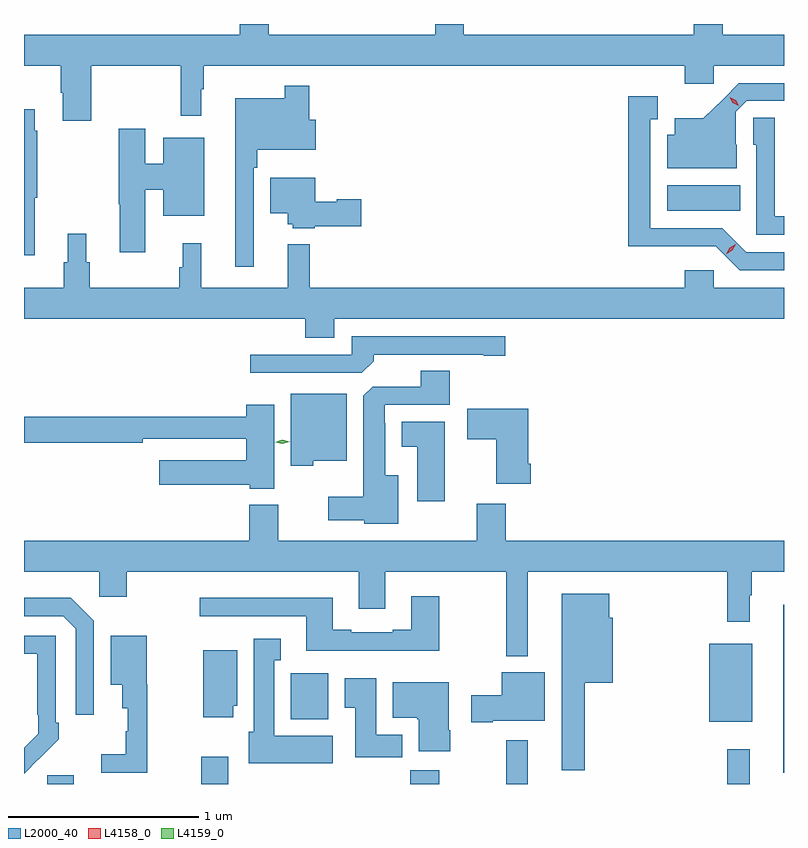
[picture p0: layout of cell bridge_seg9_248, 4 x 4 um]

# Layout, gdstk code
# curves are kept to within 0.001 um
import gdstk
lib = gdstk.Library(unit=1e-6, precision=1e-09)
def R(c, l, rs):  # rectangles x0, y0, x1, y1
    for r in rs: c.add(gdstk.rectangle(r[:2], r[2:], *l))
def P(c, l, *ps):  # polygons
    for p in ps: c.add(gdstk.Polygon(p, *l))
L2000_40 = (2000, 40)
L4158_0 = (4158, 0)
L4159_0 = (4159, 0)

bridge_seg9_248 = lib.new_cell('bridge_seg9_248')
R(bridge_seg9_248, L2000_40, [(278.631,1197.968,278.77,1198.014), (279.443,1197.968,279.583,1198.111), (280.543,1197.968,280.695,1198.04), (281.047,1197.968,281.161,1198.198), (282.211,1197.968,282.329,1198.15), (282.506,1198.026,282.509,1198.912), (282.116,1198.295,282.343,1198.705), (279.914,1198.31,280.111,1198.552), (281.894,1200.986,282.278,1201.12)])
P(bridge_seg9_248, L2000_40, [(278.862,1201.748),(279.333,1201.748),(279.333,1201.485),(279.442,1201.485),(279.442,1201.625),(279.454,1201.625),(279.454,1201.748),(281.987,1201.748),(281.987,1201.653),(282.138,1201.653),(282.138,1201.748),(282.509,1201.748),(282.509,1201.912),(282.187,1201.912),(282.187,1201.968),(282.035,1201.968),(282.035,1201.912),(280.824,1201.912),(280.824,1201.968),(280.673,1201.968),(280.673,1201.912),(279.797,1201.912),(279.797,1201.968),(279.644,1201.968),(279.644,1201.912),(278.509,1201.912),(278.509,1201.748),(278.702,1201.748),(278.702,1201.606),(278.714,1201.606),(278.714,1201.458),(278.862,1201.458)],
  [(282.259,1201.332),(282.255,1201.332),(282.255,1201.506),(282.312,1201.563),(282.509,1201.563),(282.509,1201.656),(282.272,1201.656),(282.085,1201.471),(281.933,1201.471),(281.933,1201.384),(281.894,1201.384),(281.894,1201.208),(282.259,1201.208)],
  [(279.717,1201.211),(279.737,1201.211),(279.737,1201.307),(280.045,1201.307),(280.045,1201.465),(280.01,1201.465),(280.01,1201.642),(279.882,1201.642),(279.882,1201.576),(279.62,1201.576),(279.62,1200.69),(279.717,1200.69)],
  [(282.509,1200.768),(282.309,1200.768),(282.183,1200.894),(281.806,1200.894),(281.806,1201.467),(281.845,1201.467),(281.845,1201.588),(281.688,1201.588),(281.688,1200.797),(282.15,1200.798),(282.276,1200.672),(282.509,1200.672)],
  [(278.566,1201.054),(278.578,1201.054),(278.578,1201.406),(278.566,1201.406),(278.566,1201.519),(278.509,1201.519),(278.509,1200.752),(278.566,1200.752)],
  [(282.509,1200.955),(282.459,1200.955),(282.459,1201.475),(282.348,1201.475),(282.348,1201.332),(282.363,1201.332),(282.363,1200.858),(282.509,1200.858)],
  [(279.148,1201.096),(279.242,1201.096),(279.242,1200.959),(279.457,1200.959),(279.457,1201.369),(279.242,1201.369),(279.242,1201.232),(279.148,1201.232),(279.148,1201.417),(279.007,1201.417),(279.007,1201.019),(279.014,1201.019),(279.014,1200.768),(279.148,1200.768)],
  [(280.038,1200.904),(280.285,1200.904),(280.285,1201.046),(280.155,1201.046),(280.155,1201.033),(280.042,1201.033),(280.042,1201.159),(279.806,1201.159),(279.806,1200.971),(279.896,1200.971),(279.896,1200.915),(279.924,1200.915),(279.924,1200.893),(280.038,1200.893)],
  [(280.141,1200.416),(282.509,1200.416),(282.509,1200.58),(282.138,1200.58),(282.138,1200.673),(281.987,1200.673),(281.987,1200.58),(280.013,1200.58),(280.013,1200.808),(279.896,1200.808),(279.896,1200.58),(279.443,1200.58),(279.443,1200.814),(279.344,1200.814),(279.344,1200.689),(279.325,1200.689),(279.325,1200.58),(278.855,1200.58),(278.855,1200.714),(278.836,1200.714),(278.836,1200.865),(278.738,1200.865),(278.738,1200.714),(278.719,1200.714),(278.719,1200.58),(278.509,1200.58),(278.509,1200.416),(279.989,1200.416),(279.989,1200.317),(280.141,1200.317)],
  [(280.349,1200.194),(280.349,1200.228),(280.928,1200.228),(280.928,1200.223),(281.041,1200.223),(281.041,1200.324),(280.233,1200.324),(280.233,1200.228),(279.699,1200.228),(279.699,1200.132),(280.287,1200.132)],
  [(280.48,1199.593),(280.411,1199.593),(280.411,1199.867),(280.407,1199.867),(280.407,1199.964),(280.751,1199.964),(280.751,1200.143),(280.598,1200.143),(280.598,1200.06),(280.344,1200.06),(280.295,1200.011),(280.295,1199.479),(280.11,1199.479),(280.11,1199.357),(280.299,1199.357),(280.299,1199.339),(280.48,1199.339)],
  [(280.032,1199.669),(280.207,1199.669),(280.207,1200.022),(279.914,1200.022),(279.914,1199.642),(280.032,1199.642)],
  [(279.826,1199.965),(279.68,1199.965),(279.68,1199.9),(278.509,1199.9),(278.509,1199.764),(279.134,1199.764),(279.134,1199.784),(279.68,1199.784),(279.68,1199.671),(279.222,1199.671),(279.222,1199.542),(279.696,1199.542),(279.696,1199.522),(279.826,1199.522)],
  [(281.177,1199.653),(281.164,1199.653),(281.164,1199.944),(280.842,1199.944),(280.842,1199.782),(280.994,1199.782),(280.994,1199.549),(281.177,1199.549)],
  [(280.723,1199.875),(280.496,1199.875),(280.496,1199.744),(280.58,1199.744),(280.58,1199.457),(280.723,1199.457)],
  [(281.161,1199.084),(282.211,1199.084),(282.211,1198.821),(282.328,1198.821),(282.328,1198.961),(282.34,1198.961),(282.34,1199.084),(282.509,1199.084),(282.509,1199.248),(281.045,1199.248),(281.045,1199.443),(280.892,1199.443),(280.892,1199.248),(279.847,1199.248),(279.847,1199.437),(279.695,1199.437),(279.695,1199.248),(278.509,1199.248),(278.509,1199.084),(278.904,1199.084),(278.904,1198.953),(279.051,1198.953),(279.051,1199.084),(280.271,1199.084),(280.271,1198.89),(280.411,1198.89),(280.411,1199.084),(281.047,1199.084),(281.047,1198.64),(281.161,1198.64)],
  [(281.461,1198.502),(281.608,1198.502),(281.608,1198.842),(281.59,1198.842),(281.59,1198.969),(281.339,1198.969),(281.339,1198.041),(281.461,1198.041)],
  [(280.695,1198.957),(280.547,1198.957),(280.547,1198.78),(280.451,1198.78),(280.451,1198.767),(280.231,1198.767),(280.231,1198.78),(280.135,1198.78),(280.135,1198.948),(279.435,1198.948),(279.435,1198.851),(279.995,1198.851),(279.995,1198.67),(280.695,1198.67)],
  [(278.877,1198.827),(278.756,1198.948),(278.509,1198.948),(278.509,1198.851),(278.715,1198.851),(278.781,1198.785),(278.781,1198.332),(278.877,1198.332)],
  [(278.585,1198.099),(278.586,1198.098),(278.691,1198.203),(278.691,1198.291),(278.676,1198.291),(278.676,1198.749),(278.509,1198.749),(278.509,1198.653),(278.58,1198.653),(278.58,1198.333),(278.583,1198.333),(278.583,1198.233),(278.509,1198.159),(278.509,1198.023)],
  [(279.158,1198.494),(279.154,1198.494),(279.154,1198.747),(278.966,1198.747),(278.966,1198.49),(279.026,1198.49),(279.026,1198.367),(279.056,1198.367),(279.056,1198.245),(279.045,1198.245),(279.045,1198.125),(278.916,1198.125),(278.916,1198.026),(279.158,1198.026)],
  [(280.135,1198.222),(279.826,1198.222),(279.826,1198.619),(279.859,1198.619),(279.859,1198.732),(279.719,1198.732),(279.719,1198.242),(279.692,1198.242),(279.692,1198.076),(280.135,1198.076)],
  [(279.61,1198.38),(279.631,1198.38),(279.631,1198.672),(279.452,1198.672),(279.452,1198.32),(279.61,1198.32)],
  [(280.975,1198.301),(281.251,1198.301),(281.251,1198.555),(281.024,1198.555),(281.024,1198.436),(280.863,1198.436),(280.863,1198.294),(280.975,1198.294)],
  [(280.501,1198.228),(280.363,1198.228),(280.363,1198.525),(280.196,1198.525),(280.196,1198.369),(280.253,1198.369),(280.253,1198.11),(280.501,1198.11)],
  [(280.752,1198.252),(280.744,1198.252),(280.744,1198.504),(280.451,1198.504),(280.451,1198.316),(280.58,1198.316),(280.58,1198.31),(280.586,1198.31),(280.586,1198.14),(280.752,1198.14)])
P(bridge_seg9_248, L4158_0, [(282.27,1201.537),(282.24,1201.553),(282.223,1201.583),(282.223,1201.583),(282.223,1201.583),(282.254,1201.568),(282.27,1201.538),(282.27,1201.537)],
  [(282.205,1200.757),(282.205,1200.757),(282.223,1200.79),(282.255,1200.808),(282.255,1200.808),(282.255,1200.808),(282.237,1200.776),(282.206,1200.757)])
P(bridge_seg9_248, L4159_0, [(279.869,1199.759),(279.831,1199.768),(279.83,1199.768),(279.831,1199.768),(279.869,1199.779),(279.908,1199.77),(279.908,1199.77),(279.908,1199.77)])

lib.write_gds('bridge_seg9_248.gds')
